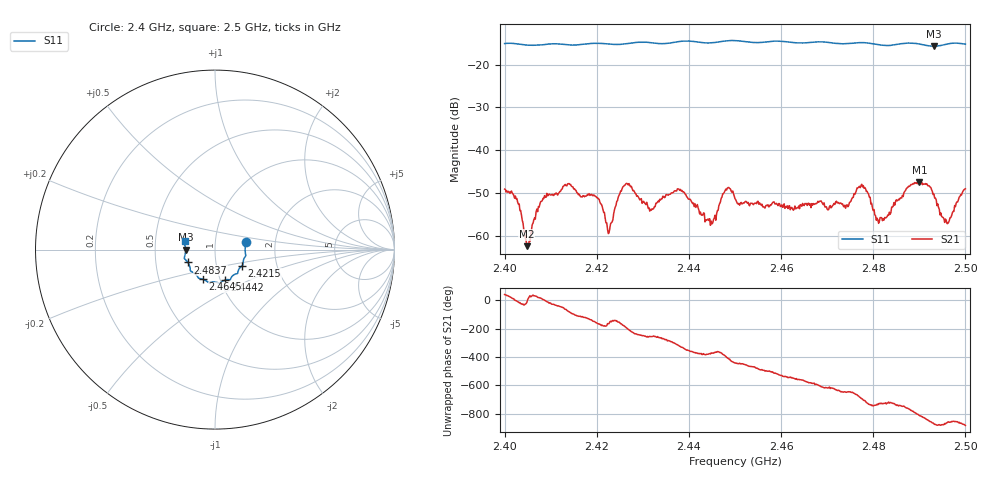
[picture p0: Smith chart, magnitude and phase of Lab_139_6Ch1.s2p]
# Hz S RI R 50
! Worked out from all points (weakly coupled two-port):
!   601 points, 2.4 GHz to 2.5 GHz, reference 50 ohm
!   highest |S21| = -47.42 dB at 2.49 GHz (marker M1); lowest = -62.4 dB at 2.4048 GHz (marker M2)
!   lowest |S11| = -15.7 dB at 2.4932 GHz (marker M3), VSWR 1.39, Z = 35.9 - j0.0597 ohm
!   |S11| at or under -10 dB: start of sweep to end of sweep
!   S12 and S22 are empty: the file has one direction only
!   S11 on the Smith chart (normalised r, x): 2.4 GHz: 1.41, +0.12; 2.4215 GHz: 1.33, -0.25; 2.4442 GHz: 1.05, -0.37; 2.4645 GHz: 0.83, -0.29; 2.4837 GHz: 0.73, -0.11; 2.5 GHz: 0.71, +0.07
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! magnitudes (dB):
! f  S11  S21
! 2.4 GHz  -15.1  -49.1
! 2.4028 GHz  -15.2  -52.2
! 2.4048 GHz  -15.5  -62.4
! 2.4088 GHz  -15.3  -51.0
! 2.4167 GHz  -15.3  -50.9
! 2.4215 GHz  -15.1  -54.5
! 2.4228 GHz  -15.2  -58.2
! 2.4265 GHz  -15.1  -47.8
! 2.4333 GHz  -15.1  -51.9
! 2.438 GHz  -14.6  -49.4
! 2.4442 GHz  -15.0  -56.1
! 2.45 GHz  -14.4  -51.3
! 2.4645 GHz  -15.0  -53.1
! 2.4667 GHz  -14.8  -52.5
! 2.4773 GHz  -14.9  -48.3
! 2.4808 GHz  -15.3  -55.9
! 2.4833 GHz  -15.6  -55.2
! 2.4837 GHz  -15.5  -55.0
! 2.49 GHz  -15.2  -47.4
! 2.4932 GHz  -15.7  -50.2
! 2.496 GHz  -15.2  -57.1
! 2.5 GHz  -15.3  -49.0
